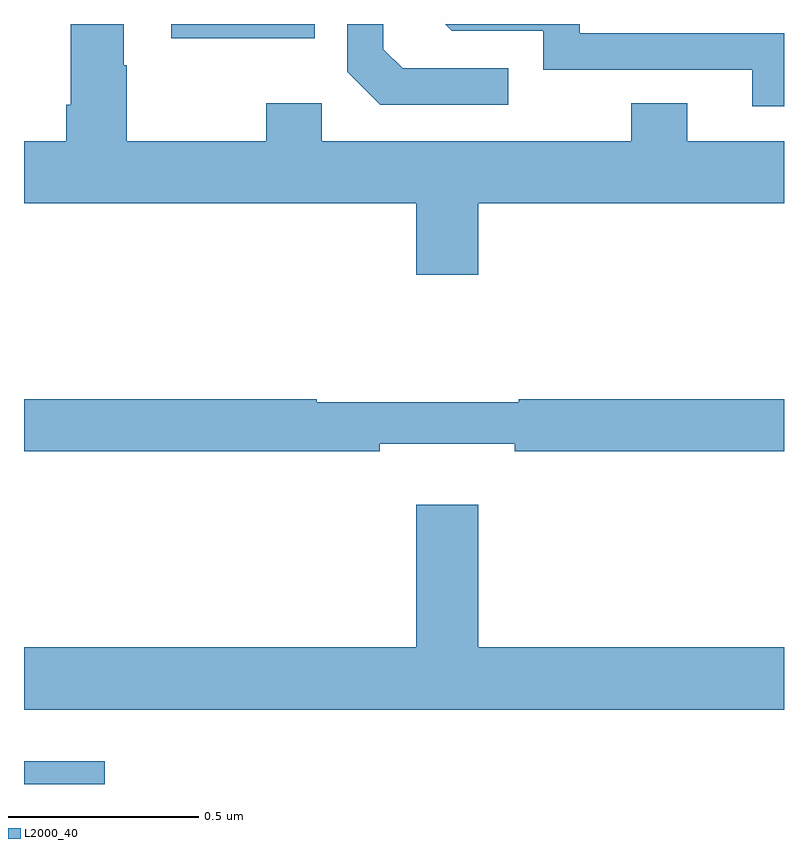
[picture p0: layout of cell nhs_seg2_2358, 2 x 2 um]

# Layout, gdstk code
import gdstk
lib = gdstk.Library(unit=1e-6, precision=1e-09)
def R(c, l, rs):  # rectangles x0, y0, x1, y1
    for r in rs: c.add(gdstk.rectangle(r[:2], r[2:], *l))
def P(c, l, *ps):  # polygons
    for p in ps: c.add(gdstk.Polygon(p, *l))
L2000_40 = (2000, 40)

nhs_seg2_2358 = lib.new_cell('nhs_seg2_2358')
R(nhs_seg2_2358, L2000_40, [(140,620.8,140.212,620.86), (140.388,622.763,140.765,622.8)])
P(nhs_seg2_2358, L2000_40, [(141.196,622.328),(142,622.328),(142,622.492),(141.745,622.492),(141.745,622.591),(141.598,622.591),(141.598,622.492),(140.784,622.492),(140.784,622.591),(140.638,622.591),(140.638,622.492),(140.271,622.492),(140.271,622.691),(140.263,622.691),(140.263,622.8),(140.123,622.8),(140.123,622.588),(140.111,622.588),(140.111,622.492),(140,622.492),(140,622.328),(141.032,622.328),(141.032,622.14),(141.196,622.14)],
  [(141.274,622.683),(140.997,622.683),(140.946,622.734),(140.946,622.8),(140.85,622.8),(140.85,622.674),(140.937,622.587),(141.274,622.587)],
  [(142,622.776),(141.462,622.776),(141.462,622.8),(141.108,622.8),(141.126,622.782),(141.366,622.782),(141.366,622.68),(141.917,622.68),(141.917,622.584),(142,622.584)],
  [(140.936,621.695),(141.292,621.695),(141.292,621.676),(142,621.676),(142,621.812),(141.302,621.812),(141.302,621.805),(140.771,621.805),(140.771,621.812),(140,621.812),(140,621.676),(140.936,621.676)],
  [(142,621.16),(141.196,621.16),(141.196,621.535),(141.032,621.535),(141.032,621.16),(140,621.16),(140,620.996),(142,620.996)])

lib.write_gds('nhs_seg2_2358.gds')
